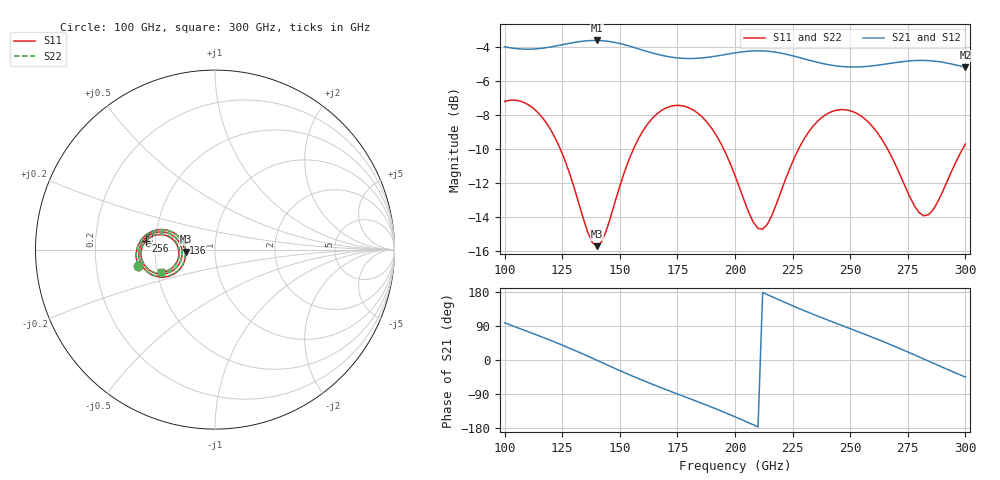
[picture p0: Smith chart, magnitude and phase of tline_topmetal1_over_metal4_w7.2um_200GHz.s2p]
#  GHZ S DB R 50
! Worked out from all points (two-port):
!   101 points, 100 GHz to 300 GHz, reference 50 ohm
!   highest |S21| = -3.61 dB at 140 GHz (marker M1); lowest = -5.2 dB at 300 GHz (marker M2)
!   |S21| within 3 dB of the highest: start of sweep to end of sweep
!   lowest |S11| = -15.7 dB at 140 GHz (marker M3), VSWR 1.39, Z = 35.9 - j0.903 ohm
!   |S11| at or under -10 dB: 124.2 GHz to 155.9 GHz (31.7 GHz wide, 22.6 % of centre); 195.1 GHz to 227.6 GHz (32.48 GHz wide, 15.4 % of centre); 266.2 GHz to 298.8 GHz (32.53 GHz wide, 11.5 % of centre)
!   |S22| runs from -15.6 to -7.1 dB; largest |S21 - S12| = 1e-13
!   S11 on the Smith chart (normalised r, x): 100 GHz: 0.40, -0.09; 136 GHz: 0.70, +0.05; 256 GHz: 0.44, +0.05; 300 GHz: 0.52, -0.15
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100  -7.19 -168.0  -3.97 98.1  -3.97 98.1  -7.18 -168.1
108  -7.23 179.7  -4.11 79.8  -4.11 79.8  -7.22 179.6
118  -8.44 165.7  -4.03 56.5  -4.03 56.5  -8.42 165.7
126  -10.60 158.2  -3.83 36.8  -3.83 36.8  -10.57 158.2
134  -14.01 162.8  -3.65 15.8  -3.65 15.8  -13.94 162.9
136  -14.86 168.1  -3.62 10.4  -3.62 10.4  -14.77 168.2
140  -15.71 -175.7  -3.61 -0.6  -3.61 -0.6  -15.61 -175.9
146  -14.00 -154.4  -3.68 -17.1  -3.68 -17.1  -13.93 -154.9
154  -10.61 -150.0  -3.93 -38.5  -3.93 -38.5  -10.59 -150.4
168  -7.73 -165.4  -4.47 -73.3  -4.47 -73.3  -7.73 -165.7
184  -7.90 172.9  -4.65 -110.5  -4.65 -110.5  -7.90 172.6
200  -11.55 160.8  -4.34 -149.9  -4.34 -149.9  -11.55 160.5
208  -14.32 173.0  -4.22 -171.1  -4.22 -171.1  -14.32 172.6
212  -14.71 -173.7  -4.22 178.0  -4.22 178.0  -14.71 -174.0
222  -11.75 -153.7  -4.41 151.1  -4.41 151.1  -11.76 -154.0
234  -8.63 -160.3  -4.83 120.5  -4.83 120.5  -8.64 -160.6
244  -7.71 -172.2  -5.10 96.7  -5.10 96.7  -7.72 -172.6
256  -8.18 173.2  -5.14 68.6  -5.14 68.6  -8.20 172.7
268  -10.45 164.0  -4.94 39.3  -4.94 39.3  -10.50 163.4
282  -13.92 -177.4  -4.78 2.4  -4.78 2.4  -14.05 -177.8
290  -12.53 -159.4  -4.88 -19.0  -4.88 -19.0  -12.63 -159.3
300  -9.70 -157.4  -5.19 -45.0  -5.19 -45.0  -9.76 -157.5
